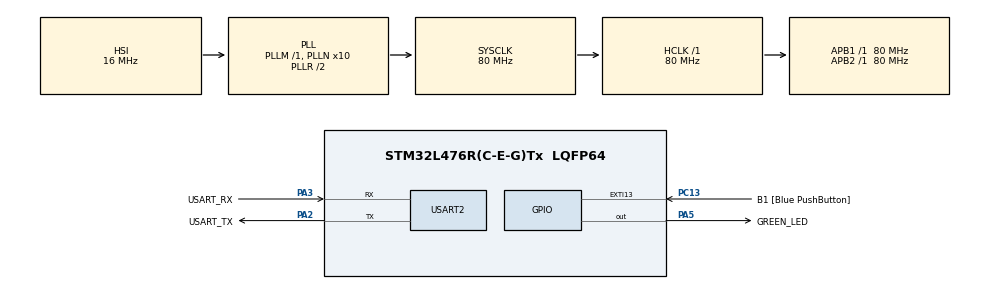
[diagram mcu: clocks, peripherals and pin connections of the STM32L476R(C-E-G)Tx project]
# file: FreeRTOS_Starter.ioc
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FREERTOS.Tasks01=defaultTask,24,128,StartDefaultTask,Default,NULL,Dynamic,NULL,NULL
Mcu.Family=STM32L4
Mcu.Name=STM32L476R(C-E-G)Tx
Mcu.Package=LQFP64
NVIC.PriorityGroup=NVIC_PRIORITYGROUP_4
NVIC.USART2_IRQn=true\:5\:0\:false\:false\:true\:true\:true\:true\:true
PA13\ (JTMS-SWDIO).GPIO_Label=TMS
PA13\ (JTMS-SWDIO).Mode=Serial_Wire
PA13\ (JTMS-SWDIO).Signal=SYS_JTMS-SWDIO
PA14\ (JTCK-SWCLK).GPIO_Label=TCK
PA14\ (JTCK-SWCLK).Mode=Serial_Wire
PA14\ (JTCK-SWCLK).Signal=SYS_JTCK-SWCLK
PA2.GPIO_Label=USART_TX
PA2.GPIO_Mode=GPIO_MODE_AF_PP
PA2.GPIO_PuPd=GPIO_NOPULL
PA2.GPIO_Speed=GPIO_SPEED_FREQ_VERY_HIGH
PA2.Mode=Asynchronous
PA2.Signal=USART2_TX
PA3.GPIO_Label=USART_RX
PA3.GPIO_Mode=GPIO_MODE_AF_PP
PA3.GPIO_PuPd=GPIO_NOPULL
PA3.GPIO_Speed=GPIO_SPEED_FREQ_VERY_HIGH
PA3.Mode=Asynchronous
PA3.Signal=USART2_RX
PA5.GPIO_Label=GREEN_LED
PA5.GPIO_ModeDefaultOutputPP=GPIO_MODE_OUTPUT_PP
PA5.GPIO_PuPd=GPIO_NOPULL
PA5.GPIO_Speed=GPIO_SPEED_FREQ_LOW
PA5.Signal=GPIO_Output
PB3\ (JTDO-TRACESWO).GPIO_Label=SWO
PB3\ (JTDO-TRACESWO).Signal=SYS_JTDO-SWO
PC13.GPIO_Label=B1 [Blue PushButton]
PC13.GPIO_ModeDefaultEXTI=GPIO_MODE_IT_FALLING
PC13.GPIO_PuPd=GPIO_NOPULL
PC13.Signal=GPXTI13
PC14-OSC32_IN\ (PC14).Mode=LSE-External-Oscillator
PC14-OSC32_IN\ (PC14).Signal=RCC_OSC32_IN
PC15-OSC32_OUT\ (PC15).Mode=LSE-External-Oscillator
PC15-OSC32_OUT\ (PC15).Signal=RCC_OSC32_OUT
PH0-OSC_IN\ (PH0).Signal=RCC_OSC_IN
PH1-OSC_OUT\ (PH1).Signal=RCC_OSC_OUT
ProjectManager.HeapSize=0x200
ProjectManager.StackSize=0x400
ProjectManager.TargetToolchain=STM32CubeIDE
RCC.ADCFreq_Value=64000000
RCC.AHBFreq_Value=80000000
RCC.APB1Freq_Value=80000000
RCC.APB1TimFreq_Value=80000000
RCC.APB2Freq_Value=80000000
RCC.APB2TimFreq_Value=80000000
RCC.CortexFreq_Value=80000000
RCC.HCLKFreq_Value=80000000
RCC.HSE_VALUE=8000000
RCC.HSI_VALUE=16000000
RCC.MSI_VALUE=4000000
RCC.PLLN=10
RCC.PLLSourceVirtual=RCC_PLLSOURCE_HSI
RCC.PREFETCH_ENABLE=1
RCC.SYSCLKFreq_VALUE=80000000
RCC.SYSCLKSource=RCC_SYSCLKSOURCE_PLLCLK
RCC.USBFreq_Value=64000000
RCC.VCOOutputFreq_Value=160000000
USART2.VirtualMode-Asynchronous=VM_ASYNC
VP_FREERTOS_VS_CMSIS_V2.Mode=CMSIS_V2
board=NUCLEO-L476RG

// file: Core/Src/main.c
/* USER CODE BEGIN Header */
/**
  ******************************************************************************
  * @file           : main.c
  * @brief          : Main program body
  ******************************************************************************
  * @attention
  *
  * Copyright (c) 2024 STMicroelectronics.
  * All rights reserved.
  *
  * This software is licensed under terms that can be found in the LICENSE file
  * in the root directory of this software component.
  * If no LICENSE file comes with this software, it is provided AS-IS.
  *
  ******************************************************************************
  */
/* USER CODE END Header */
#include "main.h"
#include "cmsis_os.h"

/* USER CODE BEGIN Includes */
#include "string.h"
#include "queue.h"
#include "stdio.h"

/* USER CODE END Includes */

UART_HandleTypeDef huart2;

/* USER CODE BEGIN PV */
QueueHandle_t uartQueue;

/* Definitions for THREAD_LED */
osThreadId_t THREAD_LEDHandle;
const osThreadAttr_t THREAD_LED_attributes = {
  .name = "THREADLED",
  .priority = (osPriority_t) osPriorityNormal,
  .stack_size = 128 * 4
};

/* Definitions for THREAD_UART */
osThreadId_t THREAD_UARTHandle;
const osThreadAttr_t THREAD_UART_attributes = {
  .name = "THREADUART",
  .priority = (osPriority_t) osPriorityNormal,
  .stack_size = 128 * 4
};

/* Definitions for THREAD_SENDER */
osThreadId_t THREAD_SENDERHandle;
const osThreadAttr_t THREAD_SENDER_attributes = {
  .name = "THREADSENDER",
  .priority = (osPriority_t) osPriorityNormal,
  .stack_size = 128 * 4
};

/* USER CODE END PV */

void SystemClock_Config(void);
static void MX_GPIO_Init(void);
static void MX_USART2_UART_Init(void);
void StartDefaultTask(void *argument);

/* USER CODE BEGIN PFP */
void vUARTTask(void *arguement);
void BlinkGreenLed(void *arguement);
void UART_Sender(void *arguement);

/* USER CODE END PFP */

int main(void)
{

  /* MCU Configuration--------------------------------------------------------*/

  /* Reset of all peripherals, Initializes the Flash interface and the Systick. */
  HAL_Init();

  /* Configure the system clock */
  SystemClock_Config();

  /* Initialize all configured peripherals */
  MX_GPIO_Init();
  MX_USART2_UART_Init();
  /* USER CODE BEGIN 2 */

  char test[] = "UART communication has been established !!!\r\n";

  HAL_UART_Transmit(&huart2, (uint8_t *)test, strlen(test), 200);

  /* USER CODE END 2 */

  /* Init scheduler */
  osKernelInitialize();

  /* Create the thread(s) */
  /* creation of defaultTask */

  uartQueue = xQueueCreate(10, sizeof(uint8_t));

  uint8_t dummy;

  HAL_UART_Receive_IT(&huart2, &dummy, 1);

  THREAD_UARTHandle = osThreadNew(vUARTTask, NULL, &THREAD_UART_attributes);

  /* Start scheduler */
  osKernelStart();

  /* We should never get here as control is now taken by the scheduler */

  /* Infinite loop */
  while (1)
  {

  }
}

void SystemClock_Config(void)
{
  RCC_OscInitTypeDef RCC_OscInitStruct = {0};
  RCC_ClkInitTypeDef RCC_ClkInitStruct = {0};

  /** Configure the main internal regulator output voltage
  */
  if (HAL_PWREx_ControlVoltageScaling(PWR_REGULATOR_VOLTAGE_SCALE1) != HAL_OK)
  {
    Error_Handler();
  }

  /** Initializes the RCC Oscillators according to the specified parameters
  * in the RCC_OscInitTypeDef structure.
  */
  RCC_OscInitStruct.OscillatorType = RCC_OSCILLATORTYPE_HSI;
  RCC_OscInitStruct.HSIState = RCC_HSI_ON;
  RCC_OscInitStruct.HSICalibrationValue = RCC_HSICALIBRATION_DEFAULT;
  RCC_OscInitStruct.PLL.PLLState = RCC_PLL_ON;
  RCC_OscInitStruct.PLL.PLLSource = RCC_PLLSOURCE_HSI;
  RCC_OscInitStruct.PLL.PLLM = 1;
  RCC_OscInitStruct.PLL.PLLN = 10;
  RCC_OscInitStruct.PLL.PLLP = RCC_PLLP_DIV7;
  RCC_OscInitStruct.PLL.PLLQ = RCC_PLLQ_DIV2;
  RCC_OscInitStruct.PLL.PLLR = RCC_PLLR_DIV2;
  if (HAL_RCC_OscConfig(&RCC_OscInitStruct) != HAL_OK)
  {
    Error_Handler();
  }

  /** Initializes the CPU, AHB and APB buses clocks
  */
  RCC_ClkInitStruct.ClockType = RCC_CLOCKTYPE_HCLK|RCC_CLOCKTYPE_SYSCLK
                              |RCC_CLOCKTYPE_PCLK1|RCC_CLOCKTYPE_PCLK2;
  RCC_ClkInitStruct.SYSCLKSource = RCC_SYSCLKSOURCE_PLLCLK;
  RCC_ClkInitStruct.AHBCLKDivider = RCC_SYSCLK_DIV1;
  RCC_ClkInitStruct.APB1CLKDivider = RCC_HCLK_DIV1;
  RCC_ClkInitStruct.APB2CLKDivider = RCC_HCLK_DIV1;

  if (HAL_RCC_ClockConfig(&RCC_ClkInitStruct, FLASH_LATENCY_4) != HAL_OK)
  {
    Error_Handler();
  }
}

static void MX_USART2_UART_Init(void)
{

  huart2.Instance = USART2;
  huart2.Init.BaudRate = 115200;
  huart2.Init.WordLength = UART_WORDLENGTH_8B;
  huart2.Init.StopBits = UART_STOPBITS_1;
  huart2.Init.Parity = UART_PARITY_NONE;
  huart2.Init.Mode = UART_MODE_TX_RX;
  huart2.Init.HwFlowCtl = UART_HWCONTROL_NONE;
  huart2.Init.OverSampling = UART_OVERSAMPLING_16;
  huart2.Init.OneBitSampling = UART_ONE_BIT_SAMPLE_DISABLE;
  huart2.AdvancedInit.AdvFeatureInit = UART_ADVFEATURE_NO_INIT;
  if (HAL_UART_Init(&huart2) != HAL_OK)
  {
    Error_Handler();
  }

}

static void MX_GPIO_Init(void)
{
  GPIO_InitTypeDef GPIO_InitStruct = {0};

  /* GPIO Ports Clock Enable */
  __HAL_RCC_GPIOC_CLK_ENABLE();
  __HAL_RCC_GPIOH_CLK_ENABLE();
  __HAL_RCC_GPIOA_CLK_ENABLE();
  __HAL_RCC_GPIOB_CLK_ENABLE();

  /*Configure GPIO pin Output Level */
  HAL_GPIO_WritePin(GREEN_LED_GPIO_Port, GREEN_LED_Pin, GPIO_PIN_RESET);

  /*Configure GPIO pin : B1_Pin */
  GPIO_InitStruct.Pin = B1_Pin;
  GPIO_InitStruct.Mode = GPIO_MODE_IT_FALLING;
  GPIO_InitStruct.Pull = GPIO_NOPULL;
  HAL_GPIO_Init(B1_GPIO_Port, &GPIO_InitStruct);

  /*Configure GPIO pin : GREEN_LED_Pin */
  GPIO_InitStruct.Pin = GREEN_LED_Pin;
  GPIO_InitStruct.Mode = GPIO_MODE_OUTPUT_PP;
  GPIO_InitStruct.Pull = GPIO_NOPULL;
  GPIO_InitStruct.Speed = GPIO_SPEED_FREQ_LOW;
  HAL_GPIO_Init(GREEN_LED_GPIO_Port, &GPIO_InitStruct);

}

/* USER CODE BEGIN 4 */

void BlinkGreenLed(void *arguement)
{
	(void) arguement;

	while(1)
	{
		HAL_GPIO_TogglePin(GREEN_LED_GPIO_Port, GREEN_LED_Pin);

		osDelay(1000);
	}
}

void UART_Sender(void *arguement)
{
	char l_test[] = "TEST\r\n";

	(void) arguement;

	while(1)
	{
		HAL_UART_Transmit(&huart2, (uint8_t *)l_test, strlen(l_test), 200);

		osDelay(1000);
	}
}

void vUARTTask(void *arguement)
{
	uint8_t receivedByte;
	uint8_t command_buffer[20];
	uint8_t tx_buffer[40];
	uint8_t tx_size = 0;
	uint8_t command_index = 0;

    for (;;)
    {
        if (xQueueReceive(uartQueue, &receivedByte, portMAX_DELAY) == pdPASS)
        {
    		// Store the received character in the command buffer
    		command_buffer[command_index++] = receivedByte;

    		// Check if the received character is a newline (indicating the end of a command)
    		if (receivedByte == '\n' || command_index == sizeof(command_buffer) - 1)
    		{
    			// Null-terminate the command string
    			command_buffer[command_index] = '\0';

    			// Format the response
    			tx_size = snprintf((char *)tx_buffer, sizeof(tx_buffer), "RECEIVED: %s", (char *)command_buffer);

    			HAL_UART_Transmit(&huart2, tx_buffer, tx_size, 200);

    			if(!strncmp((char *)command_buffer, "GREEN ON", 8))
    			{
    				THREAD_LEDHandle = osThreadNew(BlinkGreenLed, NULL, &THREAD_LED_attributes);
    			}
    			else if(!strncmp((char *)command_buffer, "UART SENDER", 10))
    			{
    				THREAD_SENDERHandle = osThreadNew(UART_Sender, NULL, &THREAD_SENDER_attributes);
    			}

    			command_index = 0;
    		}
        }
    }
}

/* USER CODE END 4 */

void StartDefaultTask(void *argument)
{
  for(;;)
  {
    osDelay(1);
  }
}

void Error_Handler(void)
{
  __disable_irq();
  while (1)
  {
  }
}
